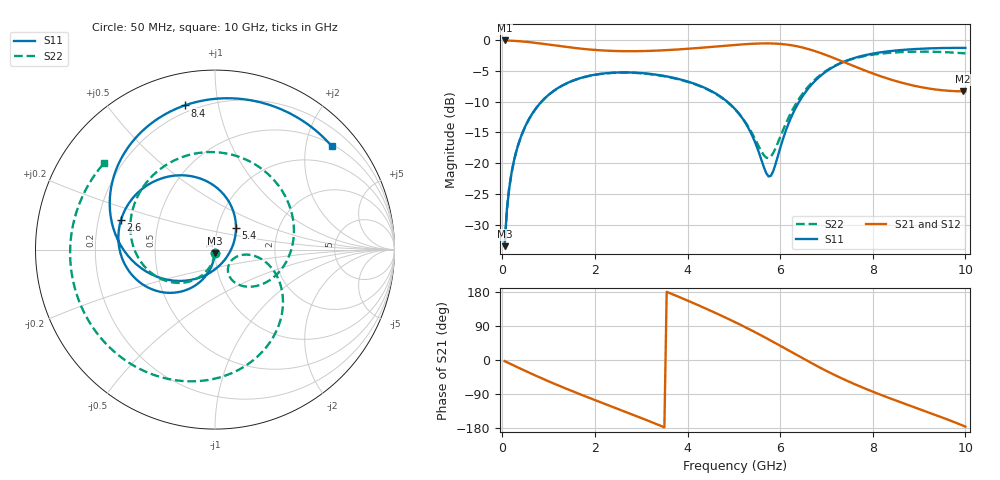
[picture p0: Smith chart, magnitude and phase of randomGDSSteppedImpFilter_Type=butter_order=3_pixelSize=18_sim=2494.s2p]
! freq	dB(S11)	phase(S11)	dB(S12)	phase(S12)
!  dB(S21)	phase(S21)	dB(S22)	phase(S22)
!S-par simulation data
#  GHz  S  DB  R 50
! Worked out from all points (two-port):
!   200 points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, 50 MHz to 10 GHz, reference 50 ohm
!   highest |S21| = -0.01 dB at 50 MHz (marker M1); lowest = -8.3 dB at 9.95 GHz (marker M2)
!   |S21| within 3 dB of the highest: start of sweep to 7.206 GHz
!   lowest |S11| = -33.5 dB at 50 MHz (marker M3), VSWR 1.04, Z = 49.9 - j2.1 ohm
!   |S11| at or under -10 dB: start of sweep to 844.7 MHz; 4.861 GHz to 6.409 GHz (1.548 GHz wide, 27.5 % of centre)
!   |S22| runs from -33.5 to -1.8 dB; largest |S21 - S12| = 0
!   S11 on the Smith chart (normalised r, x): 50 MHz: 1.00, -0.04; 2.6 GHz: 0.30, +0.14; 5.4 GHz: 1.23, +0.30; 8.4 GHz: 0.16, +0.80; 10 GHz: 0.54, +2.54
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0.05  -33.52 -92.5  -0.01 -3.0  -0.01 -3.0  -33.52 -93.4
0.1  -27.51 -95.2  -0.02 -5.9  -0.02 -5.9  -27.52 -96.9
0.2  -21.56 -100.4  -0.05 -11.7  -0.05 -11.7  -21.57 -103.8
0.5  -13.94 -115.2  -0.22 -28.9  -0.22 -28.9  -13.96 -123.7
1.1  -8.28 -142.5  -0.78 -61.5  -0.78 -61.5  -8.29 -161.6
1.75  -6.00 -168.2  -1.38 -93.8  -1.38 -93.8  -6.02 159.5
2.6  -5.21 162.4  -1.75 -134.0  -1.75 -134.0  -5.24 108.8
3.4  -5.67 136.6  -1.64 -172.6  -1.64 -172.6  -5.72 58.0
4.2  -7.19 109.7  -1.25 146.2  -1.25 146.2  -7.26 3.9
4.65  -8.84 92.0  -0.97 121.6  -0.97 121.6  -8.91 -26.2
5.05  -11.39 72.0  -0.72 98.5  -0.72 98.5  -11.41 -50.1
5.4  -15.57 45.3  -0.54 77.1  -0.54 77.1  -15.23 -61.6
5.8  -22.06 -47.9  -0.49 51.1  -0.49 51.1  -18.91 -27.8
6.25  -12.32 -134.2  -0.80 20.6  -0.80 20.6  -11.55 -11.6
6.7  -7.01 -169.4  -1.61 -9.8  -1.61 -9.8  -6.76 -34.7
7.1  -4.53 165.4  -2.69 -35.0  -2.69 -35.0  -4.45 -59.0
7.55  -2.99 140.9  -4.06 -60.6  -4.06 -60.6  -3.04 -85.3
8.35  -1.76 104.0  -6.28 -100.1  -6.28 -100.1  -2.02 -127.4
8.4  -1.72 101.9  -6.40 -102.4  -6.40 -102.4  -2.00 -129.9
9.25  -1.29 68.5  -7.88 -140.4  -7.88 -140.4  -1.84 -173.0
9.95  -1.22 43.2  -8.30 -173.2  -8.30 -173.2  -2.09 145.4
10  -1.22 41.4  -8.30 -175.8  -8.30 -175.8  -2.12 142.0
